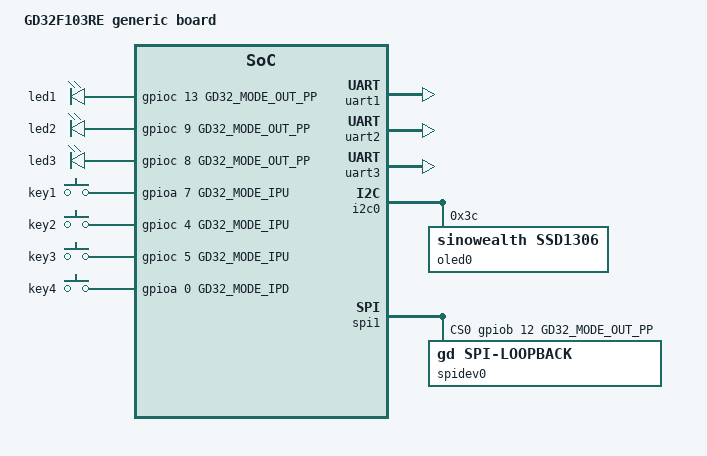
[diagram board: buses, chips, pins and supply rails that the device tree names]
/dts-v1/;

#include "gd32f103re.dtsi"

/ {
	model = "GD32F103RE generic board";
	compatible = "gd,gd32f103re-generic";

	leds {
		compatible = "gd,gpio-leds";
		status = "okay";

		led1 {
			status = "okay";
			gpios = <&gpioc 13 GD32_MODE_OUT_PP>;
			init-level = <GD32_LEVEL_HIGH>;
		};

		led2 {
			status = "okay";
			gpios = <&gpioc 9 GD32_MODE_OUT_PP>;
			init-level = <GD32_LEVEL_HIGH>;
		};

		led3 {
			status = "okay";
			gpios = <&gpioc 8 GD32_MODE_OUT_PP>;
			init-level = <GD32_LEVEL_HIGH>;
		};
	};

	keys {
		compatible = "gd,gpio-keys";
		status = "okay";
		key-mode = <KEY_MODE_IRQ>;    /* EXTI 中断(默认); 轮询改 KEY_MODE_POLL + debounce-ms */

		key1 {
			status = "okay";
			gpios = <&gpioa 7 GD32_MODE_IPU>;
			active-level = <GD32_LEVEL_LOW>;
			trigger = <KEY_TRIG_FALLING>;   /* 低电平按下 -> 下降沿(默认) */
		};

		key2 {
			status = "okay";
			gpios = <&gpioc 4 GD32_MODE_IPU>;
			active-level = <GD32_LEVEL_LOW>;
		};

		key3 {
			status = "okay";
			gpios = <&gpioc 5 GD32_MODE_IPU>;
			active-level = <GD32_LEVEL_LOW>;
		};

		key4 {
			status = "okay";
			gpios = <&gpioa 0 GD32_MODE_IPD>;
			active-level = <GD32_LEVEL_HIGH>;   /* 高有效: 也可省略, 会按 IPD 推导 */
		};
	};

	basic-timers {
		compatible = "gd,gd32-basic-timer";
		status = "okay";

		btim1 {
			status = "okay";
			timer-idx = <5>;
			clock-hz = <108000000>;
			prescaler = <10800>;
			period-us = <500000>;
			irq-mode = <1>;
		};

		btim2 {
			status = "okay";
			timer-idx = <6>;
			clock-hz = <108000000>;
			prescaler = <10800>;
			period-us = <1000000>;
			irq-mode = <1>;
		};
	};

	/* 通用定时器 TIMER1~4: 四种模式 (mode) 详见 dt-bindings/timer/gd32f10x-timer.h
	 * 验证组合: TIMER2 PWM 输出 PB0 (CH2, 1kHz) --跳线--> TIMER3 双通道捕获 PB8
	 * (CH2 上升沿直连 + CH3 交叉下降沿, 共用 PB8 引脚; PB9 配了但不生效);
	 * TIMER1 做 1s 时基定时中断 (无引脚) */
	general-timers {
		compatible = "gd,gd32-general-timer";
		status = "okay";

		/* TIMER1: 1s 定时中断 (时基), prescaler=10800 -> 10kHz, 10000 tick */
		gtim1 {
			status = "okay";
			timer-idx = <1>;
			mode = <GD32_TIMER_MODE_TIMEBASE>;
			clock-hz = <108000000>;
			prescaler = <10800>;
			period-us = <1000000>;
			irq-mode = <1>;
		};

		/* TIMER2: PWM 输出, 1kHz/50%, CH2 -> PB0 (TIMER2 默认引脚组 CH2=PB0) */
		gtim2 {
			status = "okay";
			timer-idx = <2>;
			mode = <GD32_TIMER_MODE_PWM>;
			clock-hz = <108000000>;
			prescaler = <108>;          /* 1MHz, 1tick=1us */
			period-us = <1000>;          /* 1kHz */
			irq-mode = <0>;              /* pwm 不需要中断 */
			ch2 {
				channel = <2>;
				gpios = <&gpiob 0 GD32_MODE_AF_PP>;
				duty-tenk = <5000>;   /* 50% */
			};
		};

		/* TIMER3: 双通道测频+占空比, CH2/CH3 共用 PB8 引脚
		 * (CH2 直连上升沿, CH3 交叉下降沿)。
		 * prescaler=108 -> 1MHz 计数 (1tick=1us): 1kHz 周期=1000 tick,
		 * 16 位可测 15.3Hz~1MHz, 占空比分辨率 0.1% */
		gtim3 {
			status = "okay";
			timer-idx = <3>;
			mode = <GD32_TIMER_MODE_PWMCAP>;
			clock-hz = <108000000>;
			prescaler = <108>;           /* 1MHz 计数 */
			irq-mode = <0>;              /* 捕获差值在驱动 ISR 内计算, 应用轮询读结果 */
			ch2 {
				channel = <2>;
				gpios = <&gpiob 8 GD32_MODE_IPU>;
			};
			ch3 {
				channel = <3>;
				gpios = <&gpiob 9 GD32_MODE_IPU>;   /* pwmcap 高号通道引脚被忽略 */
			};
		};
	};

	matrix-keys {
		compatible = "gd,gpio-matrix-keys";
		status = "okay";
		row-count = <4>;                    
		col-count = <3>;              

		row-gpios = <&gpioc 0 GD32_MODE_OUT_PP>,
			    <&gpioc 1 GD32_MODE_OUT_PP>,
			    <&gpioc 2 GD32_MODE_OUT_PP>,
			    <&gpioc 3 GD32_MODE_OUT_PP>;

		col-gpios = <&gpioa 4 GD32_MODE_IPU>,
			    <&gpioa 5 GD32_MODE_IPU>,
			    <&gpioa 6 GD32_MODE_IPU>;
	};

	uarts {
		compatible = "gd,gd32-uart";
		status = "okay";

		uart1 {
			status = "okay";
			pgroup = <&usart0 0>;
			baud-rate = <115200>;
			data-bits = <GD32_UART_DATA_8>;
			stop-bits = <GD32_UART_STOP_1>;
			parity = <GD32_UART_PM_NONE>;
			dma-mode = <1>;
			int-mode = <GD32_UART_INT_IDLE>;
			rx-pull = <0>;
			rx-buf-size = <128>;
			console = <1>;
		};

		/* USART1: PA2/PA3, 115200, DMA 收 + IDLE 判帧 (RX=DMA0_CH5, TX=CH6) */
		uart2 {
			status = "okay";
			pgroup = <&usart1 0>;
			baud-rate = <115200>;
			data-bits = <GD32_UART_DATA_8>;
			stop-bits = <GD32_UART_STOP_1>;
			parity = <GD32_UART_PM_NONE>;
			dma-mode = <1>;
			int-mode = <GD32_UART_INT_IDLE>;
			rx-pull = <0>;
			rx-buf-size = <128>;
			console = <0>;
		};

		/* USART2: PB10/PB11, 115200, DMA 收 + IDLE 判帧 (RX=DMA0_CH2, TX=CH1)
		 * 不用时改 status = "disabled" 即可, uart1/uart2 的下标不受影响 */
		uart3 {
			status = "okay";
			pgroup = <&usart2 0>;
			baud-rate = <115200>;
			data-bits = <GD32_UART_DATA_8>;
			stop-bits = <GD32_UART_STOP_1>;
			parity = <GD32_UART_PM_NONE>;
			dma-mode = <1>;
			int-mode = <GD32_UART_INT_IDLE>;
			rx-pull = <0>;
			rx-buf-size = <128>;
			console = <0>;
		};
	};

	/* ------------------------------------------------------------------
	 * I2C 总线 (主机模式): i2c0 -> PB6=SCL/PB7=SDA, 100kHz
	 * 挂载的从机设备 = i2c0 的子节点, 仿 Linux: reg = 7 位从机地址,
	 * 每个从机有独立 status 开关; 应用用 oled0 -> DT_OLED0_IDX 访问
	 * ------------------------------------------------------------------ */
	i2c-buses {
		compatible = "gd,gd32-i2c";
		status = "okay";

		i2c0 {
			status = "okay";
			pgroup = <&i2c0grp 0>;
			speed = <GD32_I2C_SPEED_STANDARD>;   /* 100kHz; 400k 改 FAST */
			/* own-addr = <0x00>;   本机作从机时才有意义, 主机模式不用 */

			/* SSD1306 0.96 寸 OLED, 7 位地址 0x3C (模块常见 0x3C/0x3D) */
			oled0: oled0@3c {
				status = "okay";
				reg = <0x3c>;
				compatible = "sinowealth,ssd1306";
			};

			/* 一主多从示例: 第二个从机 (LM75 温度传感器 @0x48)。
			 * 不焊时 status = "disabled" 即可, 不影响 oled0, 应用引用
			 * DT_SENSOR1_IDX 会得到哨兵值, 驱动 API 安全空操作。
			sensor1: sensor1@48 {
				status = "okay";
				reg = <0x48>;
				compatible = "national,lm75";
			}; */
		};
	};

	/* ------------------------------------------------------------------
	 * SPI 总线 (主机模式): spi1 -> PB13=SCK/PB14=MISO/PB15=MOSI
	 * 片选 = 软 CS (cs-gpios 列表), 从机节点 reg = 列表下标 (仿 Linux);
	 * 测试应用 spi_test 需跳线 PB15(MOSI)-->PB14(MISO) 做回环自发自收
	 * ------------------------------------------------------------------ */
	spi-buses {
		compatible = "gd,gd32-spi";
		status = "okay";

		spi1 {
			status = "okay";
			pgroup = <&spi1grp 0>;
			baud-hz = <9000000>;                  /* 目标 SCLK, 驱动自动就近降档 */
			frame-size = <GD32_SPI_FRAME_8BIT>;
			cpol = <GD32_SPI_CPOL_LOW>;
			cpha = <GD32_SPI_CPHA_1EDGE>;         /* 0/0 = SPI MODE0 */
			first-bit = <GD32_SPI_FIRST_MSB>;

			/* 片选 GPIO 列表 (空闲高电平, 传输期间拉低) */
			cs-gpios = <&gpiob 12 GD32_MODE_OUT_PP>,
				   <&gpiob 1  GD32_MODE_OUT_PP>;

			/* 回环测试从机: CS=PB12, 配合 MOSI->MISO 跳线自发自收 */
			spidev0: spidev0@0 {
				status = "okay";
				reg = <0>;
				compatible = "gd,spi-loopback";
			};

			/* 一主多从示例: 第二个从机挂同一总线, 用 cs-gpios[1]=PB1 片选
			spidev1: spidev1@1 {
				status = "okay";
				reg = <1>;
			}; */
		};
	};
};
